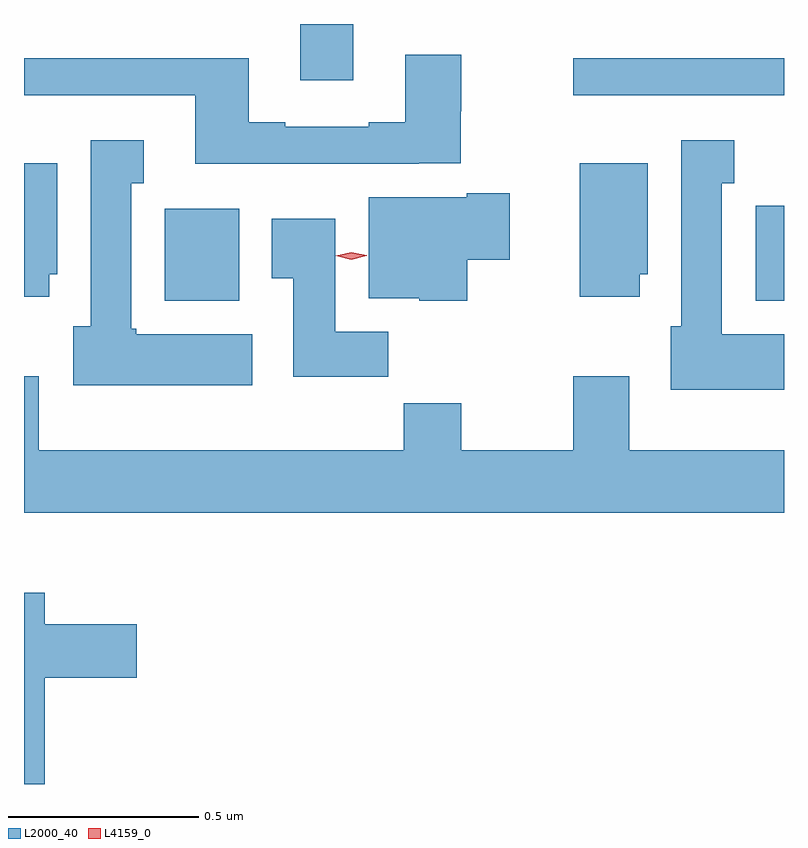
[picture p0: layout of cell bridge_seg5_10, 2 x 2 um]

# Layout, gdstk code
import gdstk
lib = gdstk.Library(unit=1e-6, precision=1e-09)
def R(c, l, rs):  # rectangles x0, y0, x1, y1
    for r in rs: c.add(gdstk.rectangle(r[:2], r[2:], *l))
def P(c, l, *ps):  # polygons
    for p in ps: c.add(gdstk.Polygon(p, *l))
L2000_40 = (2000, 40)
L4159_0 = (4159, 0)

bridge_seg5_10 = lib.new_cell('bridge_seg5_10')
R(bridge_seg5_10, L2000_40, [(1113.524,897.278,1113.721,897.52), (1115.079,897.278,1115.154,897.528), (1114.599,897.819,1115.154,897.916), (1113.881,897.858,1114.021,898.006)])
P(bridge_seg5_10, L2000_40, [(1114.193,897.64),(1114.303,897.64),(1114.303,897.777),(1114.305,897.777),(1114.305,897.925),(1114.157,897.925),(1114.157,897.748),(1114.061,897.748),(1114.061,897.735),(1113.841,897.735),(1113.841,897.748),(1113.745,897.748),(1113.745,897.916),(1113.154,897.916),(1113.154,897.819),(1113.605,897.819),(1113.605,897.638),(1114.193,897.638)],
  [(1113.754,897.19),(1113.45,897.19),(1113.45,897.204),(1113.436,897.204),(1113.436,897.587),(1113.469,897.587),(1113.469,897.7),(1113.329,897.7),(1113.329,897.21),(1113.284,897.21),(1113.284,897.056),(1113.754,897.056)],
  [(1115.154,897.19),(1114.99,897.19),(1114.99,897.587),(1115.023,897.587),(1115.023,897.7),(1114.883,897.7),(1114.883,897.21),(1114.856,897.21),(1114.856,897.044),(1115.154,897.044)],
  [(1113.22,897.348),(1113.241,897.348),(1113.241,897.64),(1113.154,897.64),(1113.154,897.288),(1113.22,897.288)],
  [(1114.774,897.348),(1114.795,897.348),(1114.795,897.64),(1114.616,897.64),(1114.616,897.288),(1114.774,897.288)],
  [(1114.32,897.385),(1114.432,897.385),(1114.432,897.56),(1114.319,897.56),(1114.319,897.55),(1114.061,897.55),(1114.061,897.284),(1114.194,897.284),(1114.194,897.278),(1114.32,897.278)],
  [(1114.112,897.196),(1113.973,897.196),(1113.973,897.493),(1113.806,897.493),(1113.806,897.337),(1113.863,897.337),(1113.863,897.078),(1114.112,897.078)],
  [(1115.154,896.884),(1114.747,896.884),(1114.747,897.079),(1114.6,897.079),(1114.6,896.884),(1114.305,896.884),(1114.305,897.008),(1114.153,897.008),(1114.153,896.884),(1113.193,896.884),(1113.193,897.079),(1113.154,897.079),(1113.154,896.72),(1115.154,896.72)],
  [(1113.208,896.285),(1113.451,896.285),(1113.451,896.427),(1113.208,896.427),(1113.208,896.509),(1113.154,896.509),(1113.154,896.006),(1113.208,896.006)])
P(bridge_seg5_10, L4159_0, [(1114.015,897.386),(1113.974,897.396),(1113.974,897.396),(1113.974,897.396),(1114.015,897.406),(1114.056,897.397),(1114.056,897.397),(1114.056,897.396)])

lib.write_gds('bridge_seg5_10.gds')
